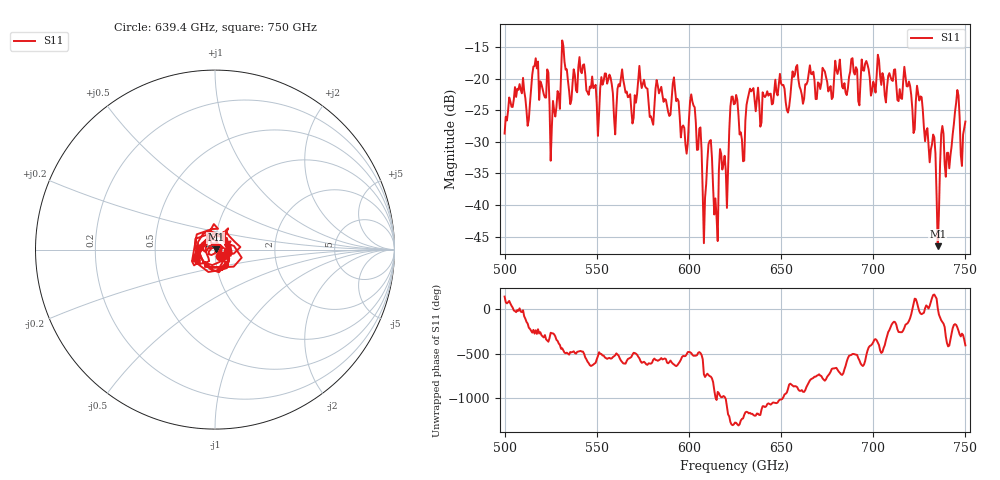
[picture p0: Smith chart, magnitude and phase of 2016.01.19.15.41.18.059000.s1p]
!Created with skrf (http://scikit-rf.org).
# GHz S RI R 50.0
!freq ReS11 ImS11
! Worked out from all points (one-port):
!   401 points, 500 GHz to 750 GHz, reference 50 ohm
!   lowest |S11| = -46.5 dB at 735 GHz (marker M1), VSWR 1.01, Z = 50.5 + j0.105 ohm
!   |S11| at or under -10 dB: start of sweep to end of sweep
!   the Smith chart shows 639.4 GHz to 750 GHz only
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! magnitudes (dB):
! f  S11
! 500 GHz  -28.7
! 506.9 GHz  -21.6
! 513.1 GHz  -26.5
! 516.9 GHz  -16.7
! 526.2 GHz  -23.5
! 531.2 GHz  -13.9
! 550 GHz  -23.9
! 562.5 GHz  -21.2
! 574.4 GHz  -21.5
! 580 GHz  -26.6
! 593.8 GHz  -23.2
! 598.1 GHz  -30.4
! 601.9 GHz  -23.6
! 608.8 GHz  -38.9
! 611.2 GHz  -29.9
! 614.4 GHz  -39.0
! 625 GHz  -23.9
! 628.8 GHz  -29.6
! 633.8 GHz  -22.0
! 656.2 GHz  -18.8
! 687.5 GHz  -18.9
! 718.8 GHz  -21.2
! 732.5 GHz  -28.8
! 735 GHz  -46.5
! 737.5 GHz  -27.5
! 740.6 GHz  -31.7
! 745 GHz  -23.7
! 750 GHz  -26.8
